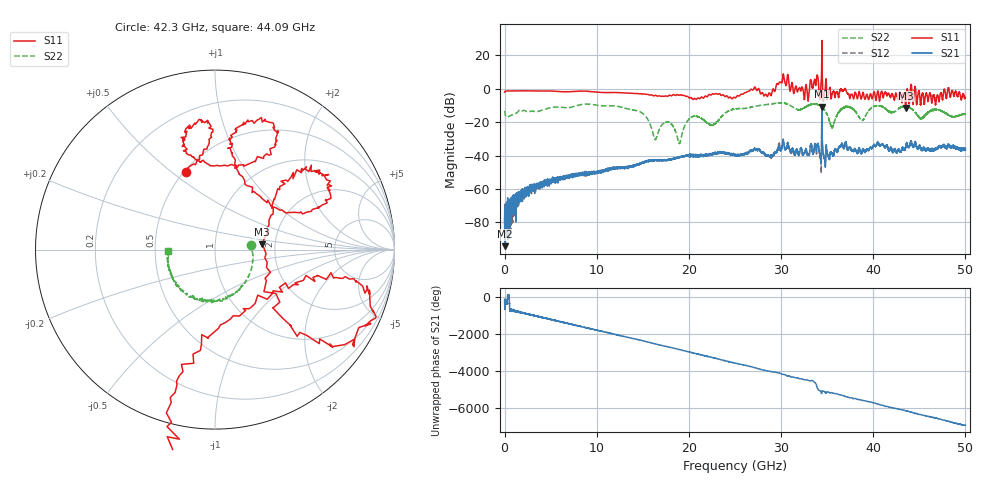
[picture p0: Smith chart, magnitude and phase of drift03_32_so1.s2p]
!Created with skrf (http://scikit-rf.org).
# Hz S RI R 50.0
!freq ReS11 ImS11 ReS21 ImS21 ReS12 ImS12 ReS22 ImS22
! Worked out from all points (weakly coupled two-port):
!   10000 points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, 5.3 MHz to 50 GHz, reference 50 ohm
!   highest |S21| = -10.81 dB at 34.43 GHz (marker M1); lowest = -94.2 dB at 25.3 MHz (marker M2)
!   lowest |S11| = -11.5 dB at 43.52 GHz (marker M3), VSWR 1.72, Z = 85.5 + j5.41 ohm
!   |S11| at or under -10 dB: 43.49416 GHz to 43.5422 GHz (48.04 MHz wide, 0.11 % of centre)
!   |S22| runs from -32.8 to -8.4 dB; largest |S21 - S12| = 0.086
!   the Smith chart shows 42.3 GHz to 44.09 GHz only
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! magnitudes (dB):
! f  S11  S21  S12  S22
! 5.3 MHz  -2.1  -76.3  -81.0  -13.3
! 25.3 MHz  -1.9  -94.2  -87.3  -13.9
! 3.025 GHz  -1.4  -59.9  -60.5  -13.4
! 8.34 GHz  -1.5  -51.1  -50.9  -9.5
! 14.55 GHz  -3.1  -45.4  -45.2  -13.5
! 16.67 GHz  -4.4  -42.8  -42.7  -26.0
! 17.8 GHz  -4.2  -42.4  -42.3  -20.0
! 18.98 GHz  -3.9  -41.1  -41.0  -32.7
! 20.29 GHz  -5.6  -39.7  -40.1  -17.0
! 22.56 GHz  -3.2  -38.9  -39.0  -21.7
! 25.01 GHz  -5.5  -39.7  -39.6  -12.1
! 30.14 GHz  4.3  -33.7  -34.0  -8.5
! 33.34 GHz  2.6  -35.0  -35.4  -9.4
! 34.43 GHz  28.8  -10.8  -12.4  -10.9
! 35.53 GHz  -3.4  -38.5  -38.9  -23.0
! 36.97 GHz  0.0  -32.8  -32.6  -10.8
! 38.77 GHz  -5.2  -38.0  -38.1  -19.1
! 40.17 GHz  -3.2  -34.0  -34.0  -10.5
! 41.67 GHz  -3.1  -36.7  -36.8  -13.4
! 43.52 GHz  -11.5  -35.3  -35.1  -10.8
! 45.19 GHz  -7.0  -36.2  -36.2  -17.6
! 50 GHz  -5.2  -36.8  -36.5  -15.5
